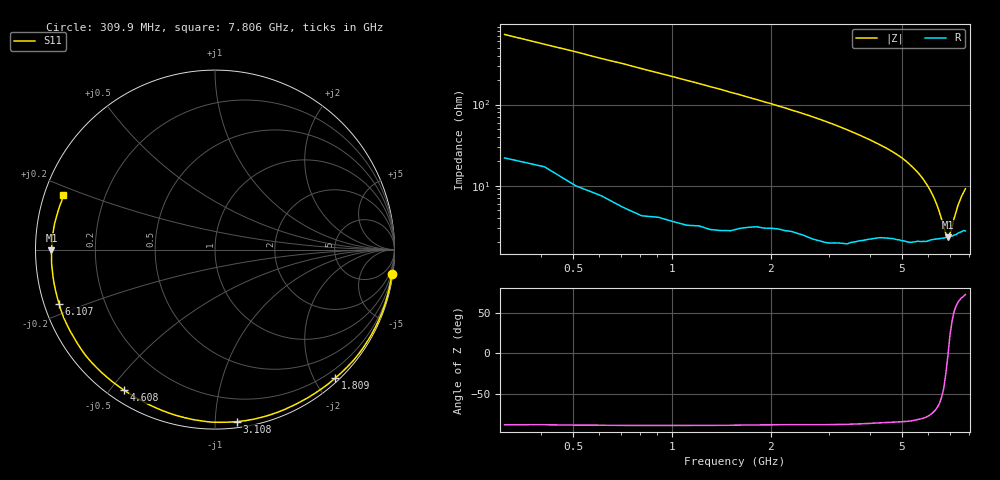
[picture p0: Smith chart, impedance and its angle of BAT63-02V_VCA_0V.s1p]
! Infineon Technologies  Discrete & RF Semiconductors
! BAT63-02V
! VCA = 0 V
! One-Port S-Parameters
# Hz  S  MA  R  50
!f  S11
!Hz  Mag  Ang
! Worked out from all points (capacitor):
!   76 points, 309.9 MHz to 7.806 GHz, reference 50 ohm
!   read as one part to ground: C = 701 fF near 309.9 MHz
!   lowest |Z| = 2.32 ohm at 6.907 GHz (marker M1)
!   series resonance near 6.917 GHz, so ESL is about 750 pH
!   S11 on the Smith chart (normalised r, x): 309.9 MHz: 0, -15; 1.809 GHz: 0.06, -2.30; 3.108 GHz: 0.04, -1.13; 4.608 GHz: 0.04, -0.54; 6.107 GHz: 0.04, -0.17; 7.806 GHz: 0.06, +0.17
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3.0985e8  0.9959 -7.8
5.0975e8  0.995 -12.8
8.096e8  0.9946 -20.5
1.0095e9  0.9929 -25.6
1.30935e9  0.9904 -33.6
1.50925e9  0.9876 -39.0
1.8091e9  0.9804 -46.9
2.2089e9  0.9743 -57.7
2.50875e9  0.9712 -66.0
2.70865e9  0.9707 -71.5
2.90855e9  0.9691 -77.1
3.10845e9  0.966 -82.8
3.2084e9  0.9643 -85.6
3.4083e9  0.9615 -91.3
3.6082e9  0.9554 -96.9
3.8081e9  0.9498 -102.3
4.10795e9  0.9415 -110.3
4.6077e9  0.9331 -122.8
5.0075e9  0.9318 -132.7
5.30735e9  0.9313 -140.6
5.50725e9  0.928 -145.7
6.007e9  0.9226 -158.2
6.10695e9  0.9199 -160.7
6.50675e9  0.9152 -170.4
6.90655e9  0.9113 -179.7
7.10645e9  0.909 175.6
7.4063e9  0.9021 168.4
7.8061e9  0.8979 160.1
